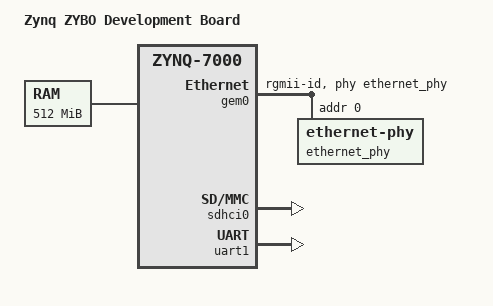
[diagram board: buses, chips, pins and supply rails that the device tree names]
/*
 *  Copyright (C) 2011 - 2014 Xilinx
 *  Copyright (C) 2012 National Instruments Corp.
 *
 * This software is licensed under the terms of the GNU General Public
 * License version 2, as published by the Free Software Foundation, and
 * may be copied, distributed, and modified under those terms.
 *
 * This program is distributed in the hope that it will be useful,
 * but WITHOUT ANY WARRANTY; without even the implied warranty of
 * MERCHANTABILITY or FITNESS FOR A PARTICULAR PURPOSE.  See the
 * GNU General Public License for more details.
 */
/dts-v1/;
/include/ "zynq-7000.dtsi"

/ {
	model = "Zynq ZYBO Development Board";
	compatible = "digilent,zynq-zybo", "xlnx,zynq-7000";

	aliases {
		ethernet0 = &gem0;
		serial0 = &uart1;
	};

	memory {
		device_type = "memory";
		reg = <0x0 0x20000000>;
	};

	chosen {
		bootargs = "console=ttyPS0,115200 earlyprintk";
		linux,stdout-path = &uart1;
		stdout-path = &uart1;
	};

  axis0 {
    compatible = "dmem-uio";
    reg = < 0x43c00000 0x010000 >; // (address, size)
  };

  axis1 {
    compatible = "dmem-uio";
    reg = < 0x43c10000 0x010000 >; // (address, size)
  };

  axis2 {
    compatible = "dmem-uio";
    reg = < 0x43c20000 0x010000 >; // (address, size)
  };

  axis3 {
    compatible = "dmem-uio";
    reg = < 0x43c30000 0x010000 >; // (address, size)
  };

  axis4 {
    compatible = "dmem-uio";
    reg = < 0x43c40000 0x010000 >; // (address, size)
  };

  axis5 {
    compatible = "dmem-uio";
    reg = < 0x43c50000 0x010000 >; // (address, size)
  };

  axis6 {
    compatible = "dmem-uio";
    reg = < 0x43c60000 0x010000 >; // (address, size)
  };

  axis7 {
    compatible = "dmem-uio";
    reg = < 0x43c70000 0x010000 >; // (address, size)
  };

};

&clkc {
	ps-clk-frequency = <50000000>;
};

&gem0 {
	status = "okay";
	phy-mode = "rgmii-id";
	phy-handle = <&ethernet_phy>;

	ethernet_phy: ethernet-phy@0 {
		reg = <0>;
	};
};

&sdhci0 {
	status = "okay";
};

&uart1 {
	status = "okay";
};
